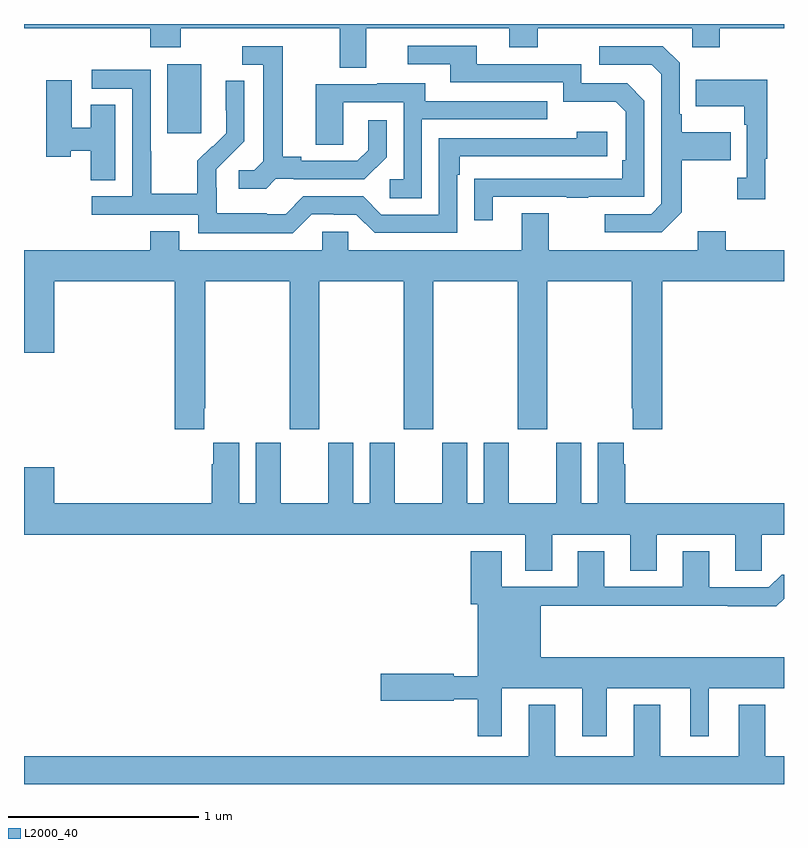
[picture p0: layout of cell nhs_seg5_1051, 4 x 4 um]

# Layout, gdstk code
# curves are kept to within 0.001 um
import gdstk
lib = gdstk.Library(unit=1e-6, precision=1e-09)
def R(c, l, rs):  # rectangles x0, y0, x1, y1
    for r in rs: c.add(gdstk.rectangle(r[:2], r[2:], *l))
def P(c, l, *ps):  # polygons
    for p in ps: c.add(gdstk.Polygon(p, *l))
L2000_40 = (2000, 40)

nhs_seg5_1051 = lib.new_cell('nhs_seg5_1051')
R(nhs_seg5_1051, L2000_40, [(177.755,840.225,177.934,840.586)])
P(nhs_seg5_1051, L2000_40, [(178.801,840.776),(179.555,840.776),(179.555,840.677),(179.703,840.677),(179.703,840.776),(180.516,840.776),(180.516,840.677),(180.663,840.677),(180.663,840.776),(181,840.776),(181,840.799),(177,840.799),(177,840.776),(177.665,840.776),(177.665,840.677),(177.825,840.677),(177.825,840.776),(178.661,840.776),(178.661,840.568),(178.801,840.568)],
  [(179.467,839.889),(179.857,839.889),(179.857,839.884),(179.969,839.884),(179.969,839.889),(180.264,839.889),(180.264,840.396),(180.174,840.486),(179.934,840.486),(179.934,840.588),(179.383,840.588),(179.383,840.684),(179.019,840.684),(179.019,840.588),(179.243,840.588),(179.243,840.492),(179.838,840.492),(179.838,840.389),(180.115,840.389),(180.168,840.336),(180.168,840.082),(180.148,840.082),(180.148,839.985),(179.371,839.984),(179.371,839.766),(179.467,839.766)],
  [(180.463,839.809),(180.463,840.082),(180.719,840.082),(180.719,840.229),(180.463,840.229),(180.463,840.325),(180.45,840.325),(180.45,840.594),(180.363,840.681),(180.027,840.681),(180.027,840.585),(180.303,840.585),(180.354,840.534),(180.354,839.853),(180.3,839.799),(180.057,839.799),(180.057,839.703),(180.357,839.703)],
  [(178.326,839.985),(178.42,839.985),(178.42,839.982),(178.792,839.982),(178.908,840.098),(178.908,840.292),(178.811,840.292),(178.811,840.135),(178.754,840.078),(178.459,840.078),(178.459,840.101),(178.363,840.101),(178.363,840.681),(178.149,840.681),(178.149,840.585),(178.259,840.585),(178.259,840.077),(178.212,840.03),(178.131,840.03),(178.131,839.933),(178.274,839.933)],
  [(178.515,839.799),(178.631,839.799),(178.631,839.796),(178.749,839.796),(178.845,839.7),(179.28,839.7),(179.28,840.005),(179.293,840.005),(179.293,840.102),(180.07,840.102),(180.07,840.232),(179.909,840.232),(179.909,840.198),(179.184,840.198),(179.184,839.796),(178.881,839.796),(178.785,839.892),(178.47,839.892),(178.377,839.799),(178.277,839.799),(178.277,839.803),(178.014,839.803),(178.014,839.937),(178.012,839.937),(178.012,840.034),(178.158,840.182),(178.158,840.5),(178.062,840.5),(178.062,840.346),(178.064,840.346),(178.064,840.224),(177.993,840.153),(177.99,840.156),(177.913,840.079),(177.913,839.905),(177.669,839.905),(177.669,840.128),(177.666,840.128),(177.666,840.558),(177.357,840.558),(177.357,840.459),(177.57,840.459),(177.57,839.892),(177.357,839.892),(177.357,839.796),(177.918,839.796),(177.918,839.699),(178.415,839.699)],
  [(180.901,840.089),(180.913,840.089),(180.913,840.505),(180.535,840.505),(180.535,840.365),(180.792,840.365),(180.792,840.269),(180.804,840.269),(180.804,839.99),(180.753,839.99),(180.753,839.877),(180.901,839.877)],
  [(177.481,840.374),(177.35,840.374),(177.35,840.253),(177.25,840.253),(177.25,840.502),(177.116,840.502),(177.116,840.101),(177.246,840.101),(177.246,840.131),(177.35,840.131),(177.35,839.977),(177.481,839.977)],
  [(179.094,840.297),(179.753,840.297),(179.753,840.393),(179.113,840.393),(179.113,840.487),(178.859,840.487),(178.859,840.483),(178.535,840.483),(178.535,840.163),(178.68,840.163),(178.68,840.387),(178.998,840.387),(178.998,839.982),(178.926,839.982),(178.926,839.881),(179.094,839.881)],
  [(177.949,838.777),(177.954,838.777),(177.954,839.444),(178.399,839.444),(178.399,838.665),(178.554,838.665),(178.554,839.444),(178.999,839.444),(178.999,838.665),(179.154,838.665),(179.154,839.444),(179.599,839.444),(179.599,838.665),(179.754,838.665),(179.754,839.444),(180.199,839.444),(180.199,838.777),(180.203,838.777),(180.203,838.665),(180.359,838.665),(180.359,839.444),(181,839.444),(181,839.608),(180.693,839.608),(180.693,839.707),(180.545,839.707),(180.545,839.608),(179.761,839.608),(179.761,839.803),(179.621,839.803),(179.621,839.608),(178.707,839.608),(178.707,839.706),(178.569,839.706),(178.569,839.608),(177.817,839.608),(177.817,839.707),(177.665,839.707),(177.665,839.608),(177,839.608),(177,839.07),(177.16,839.07),(177.16,839.444),(177.794,839.444),(177.794,838.665),(177.949,838.665)],
  [(179.779,838.112),(180.191,838.112),(180.191,837.922),(180.331,837.922),(180.331,838.112),(180.743,838.112),(180.743,837.922),(180.882,837.922),(180.882,838.112),(181,838.112),(181,838.276),(180.164,838.276),(180.164,838.481),(180.157,838.481),(180.157,838.594),(180.02,838.594),(180.02,838.276),(179.932,838.276),(179.932,838.594),(179.801,838.594),(179.801,838.276),(179.551,838.276),(179.551,838.594),(179.42,838.594),(179.42,838.276),(179.332,838.276),(179.332,838.594),(179.201,838.594),(179.201,838.276),(178.951,838.276),(178.951,838.594),(178.82,838.594),(178.82,838.276),(178.732,838.276),(178.732,838.594),(178.601,838.594),(178.601,838.276),(178.351,838.276),(178.351,838.594),(178.22,838.594),(178.22,838.276),(178.132,838.276),(178.132,838.594),(177.995,838.594),(177.995,838.481),(177.989,838.481),(177.989,838.276),(177.16,838.276),(177.16,838.465),(177,838.465),(177,838.112),(179.639,838.112),(179.639,837.922),(179.779,837.922)],
  [(179.515,837.302),(179.939,837.302),(179.939,837.051),(180.067,837.051),(180.067,837.302),(180.506,837.302),(180.506,837.051),(180.604,837.051),(180.604,837.302),(181,837.302),(181,837.466),(179.719,837.466),(179.719,837.736),(180.703,837.736),(180.703,837.734),(180.959,837.734),(181,837.775),(181,837.901),(180.988,837.901),(180.921,837.834),(180.607,837.834),(180.607,838.024),(180.467,838.024),(180.467,837.837),(180.055,837.837),(180.055,838.024),(179.915,838.024),(179.915,837.837),(179.515,837.837),(179.515,838.024),(179.351,838.024),(179.351,837.744),(179.387,837.744),(179.387,837.367),(179.262,837.367),(179.262,837.38),(178.878,837.38),(178.878,837.238),(179.262,837.238),(179.262,837.246),(179.387,837.246),(179.387,837.051),(179.515,837.051)],
  [(181,836.944),(180.901,836.944),(180.901,837.217),(180.761,837.217),(180.761,836.944),(180.349,836.944),(180.349,837.217),(180.209,837.217),(180.209,836.944),(179.797,836.944),(179.797,837.217),(179.657,837.217),(179.657,836.944),(177,836.944),(177,836.799),(181,836.799)])

lib.write_gds('nhs_seg5_1051.gds')
